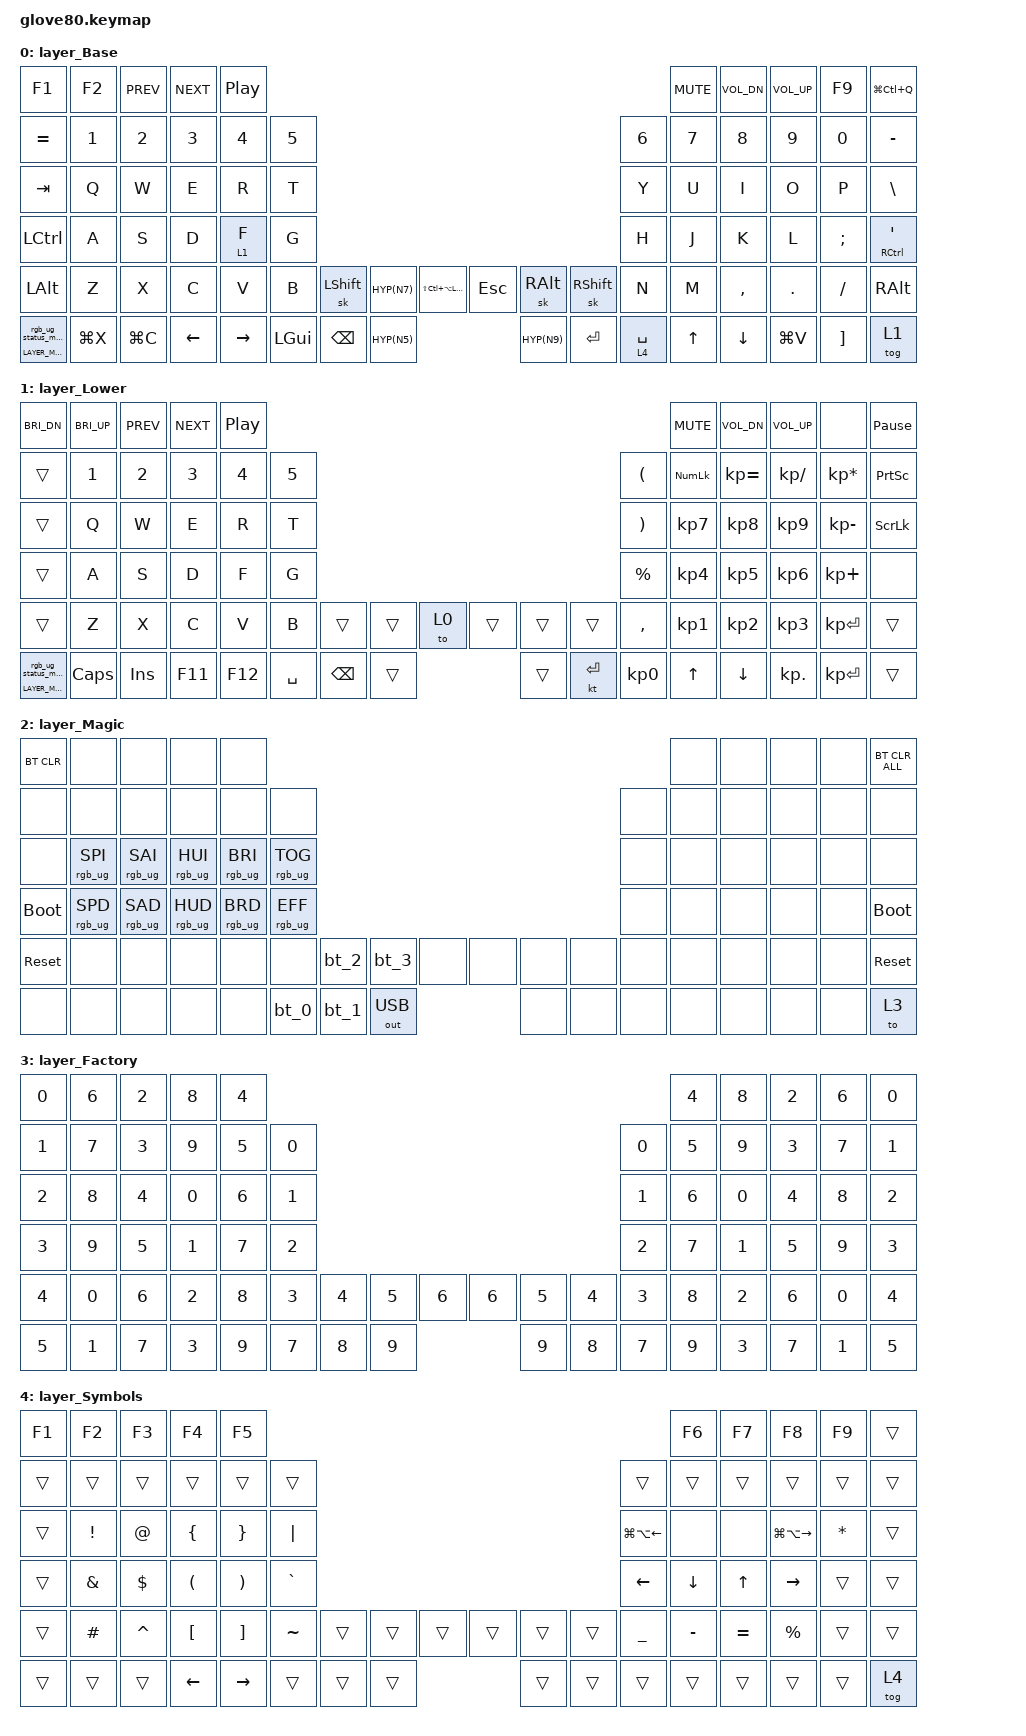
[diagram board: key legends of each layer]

/*
 * Copyright (c) 2020 The ZMK Contributors
 * Copyright (c) 2023 Innaworks Development Limited, trading as MoErgo
 *
 * SPDX-License-Identifier: MIT
 */


/* THIS FILE WAS GENERATED BY GLOVE80 LAYOUT EDITOR
 *
 * This file was generated automatically. You may or may not want to
 * edit it directly.
 */

#include <behaviors.dtsi>
/* Include all behaviour includes needed */
#include <dt-bindings/zmk/outputs.h>
#include <dt-bindings/zmk/keys.h>
#include <dt-bindings/zmk/bt.h>
#include <dt-bindings/zmk/rgb.h>

/* Automatically generated layer name #define */
#define LAYER_Base 0
#define LAYER_Lower 1
#define LAYER_Magic 2
#define LAYER_Factory 3
#define LAYER_Symbols 4

/* To deal with the situation where there is no Lower layer, to keep &lower happy */
#ifndef LAYER_Lower
#define LAYER_Lower 0
#endif

/* Custom Device-tree */
&mt {
    tapping-term-ms = <180>;
    flavor = "tap-preferred";
    retro-tap;
};

&sk {
    release-after-ms = <2000>;
    quick-release;
};


/* Glove80 system behavior & macros */
/ {
    behaviors {
        // For the "layer" key, it'd nice to be able to use it as either a shift or a toggle.
        // Configure it as a tap dance, so the first tap (or hold) is a &mo and the second tap is a &to
        lower: lower {
            compatible = "zmk,behavior-tap-dance";
            label = "LAYER_TAP_DANCE";
            #binding-cells = <0>;
            tapping-term-ms = <200>;
            bindings = <&mo LAYER_Lower>, <&to LAYER_Lower>;
        };
    };
};

/ {
    macros {
        rgb_ug_status_macro: rgb_ug_status_macro {
            label = "RGB_UG_STATUS";
            compatible = "zmk,behavior-macro";
            #binding-cells = <0>;
            bindings
                = <&rgb_ug RGB_STATUS>;
        };
    };
};


/ {
#ifdef BT_DISC_CMD
    behaviors {
        bt_0: bt_0 {
            compatible = "zmk,behavior-tap-dance";
            label = "BT_0";
            #binding-cells = <0>;
            tapping-term-ms = <200>;
            bindings = <&bt_select_0>, <&bt BT_DISC 0>;
        };
        bt_1: bt_1 {
            compatible = "zmk,behavior-tap-dance";
            label = "BT_1";
            #binding-cells = <0>;
            tapping-term-ms = <200>;
            bindings = <&bt_select_1>, <&bt BT_DISC 1>;
        };
        bt_2: bt_2 {
            compatible = "zmk,behavior-tap-dance";
            label = "BT_2";
            #binding-cells = <0>;
            tapping-term-ms = <200>;
            bindings = <&bt_select_2>, <&bt BT_DISC 2>;
        };
        bt_3: bt_3 {
            compatible = "zmk,behavior-tap-dance";
            label = "BT_3";
            #binding-cells = <0>;
            tapping-term-ms = <200>;
            bindings = <&bt_select_3>, <&bt BT_DISC 3>;
        };
    };
    macros {
        bt_select_0: bt_select_0 {
            label = "BT_SELECT_0";
            compatible = "zmk,behavior-macro";
            #binding-cells = <0>;
            bindings
                = <&out OUT_BLE>,
                  <&bt BT_SEL 0>;
        };
        bt_select_1: bt_select_1 {
            label = "BT_SELECT_1";
            compatible = "zmk,behavior-macro";
            #binding-cells = <0>;
            bindings
                = <&out OUT_BLE>,
                  <&bt BT_SEL 1>;
        };
        bt_select_2: bt_select_2 {
            label = "BT_SELECT_2";
            compatible = "zmk,behavior-macro";
            #binding-cells = <0>;
            bindings
                = <&out OUT_BLE>,
                  <&bt BT_SEL 2>;
        };
        bt_select_3: bt_select_3 {
            label = "BT_SELECT_3";
            compatible = "zmk,behavior-macro";
            #binding-cells = <0>;
            bindings
                = <&out OUT_BLE>,
                  <&bt BT_SEL 3>;
        };
    };
#else
    macros {
        bt_0: bt_0 {
            label = "BT_0";
            compatible = "zmk,behavior-macro";
            #binding-cells = <0>;
            bindings
                = <&out OUT_BLE>,
                  <&bt BT_SEL 0>;
        };
        bt_1: bt_1 {
            label = "BT_1";
            compatible = "zmk,behavior-macro";
            #binding-cells = <0>;
            bindings
                = <&out OUT_BLE>,
                  <&bt BT_SEL 1>;
        };
        bt_2: bt_2 {
            label = "BT_2";
            compatible = "zmk,behavior-macro";
            #binding-cells = <0>;
            bindings
                = <&out OUT_BLE>,
                  <&bt BT_SEL 2>;
        };
        bt_3: bt_3 {
            label = "BT_3";
            compatible = "zmk,behavior-macro";
            #binding-cells = <0>;
            bindings
                = <&out OUT_BLE>,
                  <&bt BT_SEL 3>;
        };
    };
#endif
};

/ {
    behaviors {
        magic: magic {
            compatible = "zmk,behavior-hold-tap";
            label = "MAGIC_HOLD_TAP";
            #binding-cells = <2>;
            flavor = "tap-preferred";
            tapping-term-ms = <200>;
            bindings = <&mo>, <&rgb_ug_status_macro>;
        };
    };
};

/* #define for key positions */
#define POS_LH_T1 52
#define POS_LH_T2 53
#define POS_LH_T3 54
#define POS_LH_T4 69
#define POS_LH_T5 70
#define POS_LH_T6 71
#define POS_LH_C1R2 15
#define POS_LH_C1R3 27
#define POS_LH_C1R4 39
#define POS_LH_C1R5 51
#define POS_LH_C2R1 4
#define POS_LH_C2R2 14
#define POS_LH_C2R3 26
#define POS_LH_C2R4 38
#define POS_LH_C2R5 50
#define POS_LH_C2R6 68
#define POS_LH_C3R1 3
#define POS_LH_C3R2 13
#define POS_LH_C3R3 25
#define POS_LH_C3R4 37
#define POS_LH_C3R5 49
#define POS_LH_C3R6 67
#define POS_LH_C4R1 2
#define POS_LH_C4R2 12
#define POS_LH_C4R3 24
#define POS_LH_C4R4 36
#define POS_LH_C4R5 48
#define POS_LH_C4R6 66
#define POS_LH_C5R1 1
#define POS_LH_C5R2 11
#define POS_LH_C5R3 23
#define POS_LH_C5R4 35
#define POS_LH_C5R5 47
#define POS_LH_C5R6 65
#define POS_LH_C6R1 0
#define POS_LH_C6R2 10
#define POS_LH_C6R3 22
#define POS_LH_C6R4 34
#define POS_LH_C6R5 46
#define POS_LH_C6R6 64
#define POS_RH_T1 57
#define POS_RH_T2 56
#define POS_RH_T3 55
#define POS_RH_T4 74
#define POS_RH_T5 73
#define POS_RH_T6 72
#define POS_RH_C1R2 16
#define POS_RH_C1R3 28
#define POS_RH_C1R4 40
#define POS_RH_C1R5 58
#define POS_RH_C2R1 5
#define POS_RH_C2R2 17
#define POS_RH_C2R3 29
#define POS_RH_C2R4 41
#define POS_RH_C2R5 59
#define POS_RH_C2R6 75
#define POS_RH_C3R1 6
#define POS_RH_C3R2 18
#define POS_RH_C3R3 30
#define POS_RH_C3R4 42
#define POS_RH_C3R5 60
#define POS_RH_C3R6 76
#define POS_RH_C4R1 7
#define POS_RH_C4R2 19
#define POS_RH_C4R3 31
#define POS_RH_C4R4 43
#define POS_RH_C4R5 61
#define POS_RH_C4R6 77
#define POS_RH_C5R1 8
#define POS_RH_C5R2 20
#define POS_RH_C5R3 32
#define POS_RH_C5R4 44
#define POS_RH_C5R5 62
#define POS_RH_C5R6 78
#define POS_RH_C6R1 9
#define POS_RH_C6R2 21
#define POS_RH_C6R3 33
#define POS_RH_C6R4 45
#define POS_RH_C6R5 63
#define POS_RH_C6R6 79

/* Custom Defined Behaviors */
/ {
    
#define HYP(key) LS(LC(LA(LG(key))))
#define HYPER    LS(LC(LA(LGUI)))
#define MACLOCK  LG(LC(Q))

#define BROWSER_NEWTAB LG(T) 
#define BROWSER_CLOSETAB LG(W) 
#define BROWSER_NEXTTAB LG(LA(RIGHT))
#define BROWSER_PREVTAB LG(LA(LEFT))


};

/* Automatically generated macro definitions */
/ {
    macros {
    
    };
};

/* Automatically generated keymap */
/ {
    keymap {
        compatible = "zmk,keymap";


        layer_Base {
            bindings = <
               &kp F1     &kp F2  &kp C_PREV  &kp C_NEXT   &kp C_PP                                                                                           &kp C_MUTE  &kp C_VOL_DN  &kp C_VOL_UP    &kp F9    &kp MACLOCK
            &kp EQUAL     &kp N1      &kp N2      &kp N3     &kp N4  &kp N5                                                                           &kp N6      &kp N7        &kp N8        &kp N9    &kp N0      &kp MINUS
              &kp TAB      &kp Q       &kp W       &kp E      &kp R   &kp T                                                                            &kp Y       &kp U         &kp I         &kp O     &kp P       &kp BSLH
            &kp LCTRL      &kp A       &kp S       &kp D    &lt 1 F   &kp G                                                                            &kp H       &kp J         &kp K         &kp L  &kp SEMI  &mt RCTRL SQT
             &kp LALT      &kp Z       &kp X       &kp C      &kp V   &kp B  &sk LSHFT  &kp HYP(N7)    &kp HYPER      &kp ESC  &sk RALT    &sk RSHFT   &kp N       &kp M     &kp COMMA       &kp DOT  &kp FSLH       &kp RALT
 &magic LAYER_Magic 0  &kp LG(X)   &kp LG(C)    &kp LEFT  &kp RIGHT           &kp LGUI     &kp BSPC  &kp HYP(N5)  &kp HYP(N9)   &kp RET  &lt 4 SPACE              &kp UP      &kp DOWN     &kp LG(V)  &kp RBKT         &tog 1
            >;
        };

        layer_Lower {
            bindings = <
         &kp C_BRI_DN  &kp C_BRI_UP  &kp C_PREV  &kp C_NEXT  &kp C_PP                                                                                          &kp C_MUTE  &kp C_VOL_DN  &kp C_VOL_UP            &none  &kp PAUSE_BREAK
               &trans        &kp N1      &kp N2      &kp N3    &kp N4  &kp N5                                                            &kp LEFT_PARENTHESIS  &kp KP_NUM  &kp KP_EQUAL  &kp KP_SLASH  &kp KP_MULTIPLY  &kp PRINTSCREEN
               &trans         &kp Q       &kp W       &kp E     &kp R   &kp T                                                           &kp RIGHT_PARENTHESIS   &kp KP_N7     &kp KP_N8     &kp KP_N9     &kp KP_MINUS   &kp SCROLLLOCK
               &trans         &kp A       &kp S       &kp D     &kp F   &kp G                                                                     &kp PERCENT   &kp KP_N4     &kp KP_N5     &kp KP_N6      &kp KP_PLUS            &none
               &trans         &kp Z       &kp X       &kp C     &kp V   &kp B     &trans    &trans   &to 0  &trans   &trans     &trans              &kp COMMA   &kp KP_N1     &kp KP_N2     &kp KP_N3     &kp KP_ENTER           &trans
 &magic LAYER_Magic 0      &kp CAPS     &kp INS     &kp F11   &kp F12          &kp SPACE  &kp BSPC  &trans  &trans  &kt RET  &kp KP_N0                             &kp UP      &kp DOWN    &kp KP_DOT     &kp KP_ENTER           &trans
            >;
        };

        layer_Magic {
            bindings = <
  &bt BT_CLR            &none            &none            &none            &none                                                                                  &none   &none   &none   &none  &bt BT_CLR_ALL
       &none            &none            &none            &none            &none            &none                                                         &none   &none   &none   &none   &none           &none
       &none  &rgb_ug RGB_SPI  &rgb_ug RGB_SAI  &rgb_ug RGB_HUI  &rgb_ug RGB_BRI  &rgb_ug RGB_TOG                                                         &none   &none   &none   &none   &none           &none
 &bootloader  &rgb_ug RGB_SPD  &rgb_ug RGB_SAD  &rgb_ug RGB_HUD  &rgb_ug RGB_BRD  &rgb_ug RGB_EFF                                                         &none   &none   &none   &none   &none     &bootloader
  &sys_reset            &none            &none            &none            &none            &none   &bt_2   &bt_3         &none   &none   &none   &none   &none   &none   &none   &none   &none      &sys_reset
       &none            &none            &none            &none            &none                    &bt_0   &bt_1  &out OUT_USB   &none   &none   &none           &none   &none   &none   &none           &to 3
            >;
        };

        layer_Factory {
            bindings = <
 &kp NUMBER_0  &kp NUMBER_6  &kp NUMBER_2  &kp NUMBER_8  &kp NUMBER_4                                                                                                                  &kp NUMBER_4  &kp NUMBER_8  &kp NUMBER_2  &kp NUMBER_6  &kp NUMBER_0
 &kp NUMBER_1  &kp NUMBER_7  &kp NUMBER_3  &kp NUMBER_9  &kp NUMBER_5  &kp NUMBER_0                                                                                      &kp NUMBER_0  &kp NUMBER_5  &kp NUMBER_9  &kp NUMBER_3  &kp NUMBER_7  &kp NUMBER_1
 &kp NUMBER_2  &kp NUMBER_8  &kp NUMBER_4  &kp NUMBER_0  &kp NUMBER_6  &kp NUMBER_1                                                                                      &kp NUMBER_1  &kp NUMBER_6  &kp NUMBER_0  &kp NUMBER_4  &kp NUMBER_8  &kp NUMBER_2
 &kp NUMBER_3  &kp NUMBER_9  &kp NUMBER_5  &kp NUMBER_1  &kp NUMBER_7  &kp NUMBER_2                                                                                      &kp NUMBER_2  &kp NUMBER_7  &kp NUMBER_1  &kp NUMBER_5  &kp NUMBER_9  &kp NUMBER_3
 &kp NUMBER_4  &kp NUMBER_0  &kp NUMBER_6  &kp NUMBER_2  &kp NUMBER_8  &kp NUMBER_3  &kp NUMBER_4  &kp NUMBER_5  &kp NUMBER_6  &kp NUMBER_6  &kp NUMBER_5  &kp NUMBER_4  &kp NUMBER_3  &kp NUMBER_8  &kp NUMBER_2  &kp NUMBER_6  &kp NUMBER_0  &kp NUMBER_4
 &kp NUMBER_5  &kp NUMBER_1  &kp NUMBER_7  &kp NUMBER_3  &kp NUMBER_9                &kp NUMBER_7  &kp NUMBER_8  &kp NUMBER_9  &kp NUMBER_9  &kp NUMBER_8  &kp NUMBER_7                &kp NUMBER_9  &kp NUMBER_3  &kp NUMBER_7  &kp NUMBER_1  &kp NUMBER_5
            >;
        };

        layer_Symbols {
            bindings = <
 &kp F1    &kp F2     &kp F3    &kp F4     &kp F5                                                                                     &kp F6     &kp F7               &kp F8    &kp F9  &trans
 &trans    &trans     &trans    &trans     &trans     &trans                                                               &trans     &trans     &trans               &trans    &trans  &trans
 &trans  &kp EXCL     &kp AT  &kp LBRC   &kp RBRC   &kp PIPE                                                  &kp BROWSER_PREVTAB      &none      &none  &kp BROWSER_NEXTTAB  &kp STAR  &trans
 &trans  &kp AMPS   &kp DLLR  &kp LPAR   &kp RPAR  &kp GRAVE                                                             &kp LEFT   &kp DOWN     &kp UP            &kp RIGHT    &trans  &trans
 &trans  &kp HASH  &kp CARET  &kp LBKT   &kp RBKT  &kp TILDE  &trans  &trans  &trans  &trans  &trans  &trans            &kp UNDER  &kp MINUS  &kp EQUAL            &kp PRCNT    &trans  &trans
 &trans    &trans     &trans  &kp LEFT  &kp RIGHT             &trans  &trans  &trans  &trans  &trans  &trans                          &trans     &trans               &trans    &trans  &tog 4
            >;
        };

    };
};
